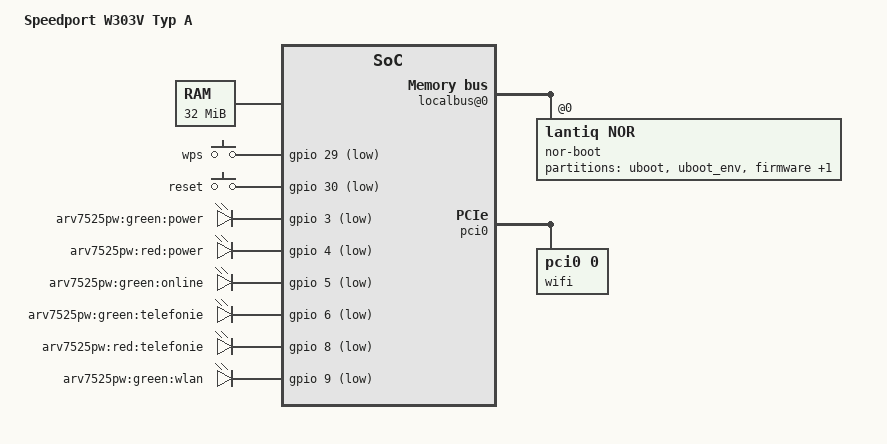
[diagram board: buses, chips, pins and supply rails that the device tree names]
/dts-v1/;

#include "danube.dtsi"

#include <dt-bindings/input/input.h>

/ {
	compatible = "arcadyan,arv7525pw", "lantiq,xway", "lantiq,danube";
	model = "Speedport W303V Typ A";

	chosen {
		bootargs = "console=ttyLTQ0,115200";
	};

	aliases {
		led-boot = &power_green;
		led-failsafe = &power_red;
		led-running = &power_green;

		led-dsl = &power_green;
		led-internet = &online;
		led-wifi = &wifi;
	};

	memory@0 {
		reg = <0x0 0x2000000>;
	};

	sram@1F000000 {
		vmmc@107000 {
			status = "okay";
			gpios = <&gpio 31 GPIO_ACTIVE_HIGH>;
		};
	};

	fpi@10000000 {
		localbus@0 {
			nor-boot@0 {
				compatible = "lantiq,nor";
				bank-width = <2>;
				reg = <0 0x0 0x2000000>;
				#address-cells = <1>;
				#size-cells = <1>;

				partitions {
					compatible = "fixed-partitions";
					#address-cells = <1>;
					#size-cells = <1>;

					partition@0 {
						label = "uboot";
						reg = <0x00000 0x10000>;
						read-only;
					};

					partition@10000 {
						label = "uboot_env";
						reg = <0x10000 0x10000>;
						read-only;
					};

					partition@20000 {
						label = "firmware";
						reg = <0x20000 0x3d0000>;
					};

					boardconfig: partition@400000 {
						label = "board_config";
						reg = <0x3f0000 0x10000>;
						read-only;
					};
				};
			};
		};

		gpio: pinmux@E100B10 {
			pinctrl-names = "default";
			pinctrl-0 = <&state_default>;

			state_default: pinmux {
				exin {
					lantiq,groups = "exin1";
					lantiq,function = "exin";
				};
				pci {
					lantiq,groups = "gnt1", "req1";
					lantiq,function = "pci";
				};
			};
		};

		etop@E180000 {
			phy-mode = "mii";
			mtd-mac-address = <&boardconfig 0x16>;
		};
	};

	gpio-keys-polled {
		compatible = "gpio-keys-polled";
		#address-cells = <1>;
		#size-cells = <0>;
		poll-interval = <100>;

		wps {
			label = "wps";
			gpios = <&gpio 29 GPIO_ACTIVE_LOW>;
			linux,code = <KEY_WPS_BUTTON>;
		};
		reset {
			label = "reset";
			gpios = <&gpio 30 GPIO_ACTIVE_LOW>;
			linux,code = <KEY_RESTART>;
		};
	};

	gpio-leds {
		compatible = "gpio-leds";
		power_green: power {
			label = "arv7525pw:green:power";
			gpios = <&gpio 3 GPIO_ACTIVE_LOW>;
			default-state = "keep";
		};
		power_red: power1 {
			label = "arv7525pw:red:power";
			gpios = <&gpio 4 GPIO_ACTIVE_LOW>;
		};
		online: online {
			label = "arv7525pw:green:online";
			gpios = <&gpio 5 GPIO_ACTIVE_LOW>;
		};
		voice {
			label = "arv7525pw:green:telefonie";
			gpios = <&gpio 6 GPIO_ACTIVE_LOW>;
		};
		voice2 {
			label = "arv7525pw:red:telefonie";
			gpios = <&gpio 8 GPIO_ACTIVE_LOW>;
		};
		wifi: wifi {
			label = "arv7525pw:green:wlan";
			gpios = <&gpio 9 GPIO_ACTIVE_LOW>;
		};
	};
};

&pci0 {
	status = "okay";
	interrupt-map = <0x7000 0 0 1 &icu0 135 1>;

	wifi@0,0 {
		compatible = "pci0,0";
		reg = <0x7000 0 0 0 0>;
		ralink,mtd-eeprom = <&boardconfig 0x410>;
	};
};
